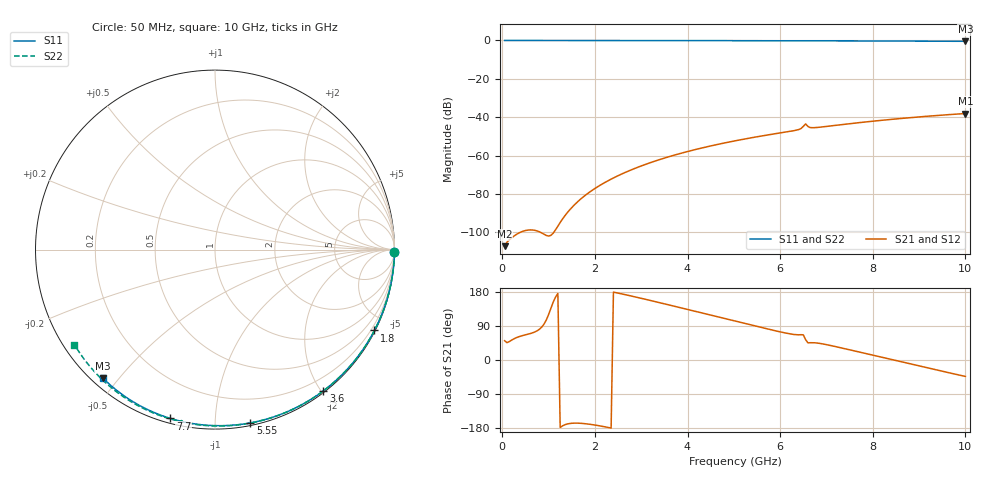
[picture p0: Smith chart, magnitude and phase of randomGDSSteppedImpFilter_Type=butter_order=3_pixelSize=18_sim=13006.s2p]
! freq	dB(S11)	phase(S11)	dB(S12)	phase(S12)
!  dB(S21)	phase(S21)	dB(S22)	phase(S22)
!S-par simulation data
#  GHz  S  DB  R 50
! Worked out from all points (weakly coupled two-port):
!   200 points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, 50 MHz to 10 GHz, reference 50 ohm
!   highest |S21| = -38.11 dB at 10 GHz (marker M1); lowest = -107.3 dB at 50 MHz (marker M2)
!   lowest |S11| = -0.4 dB at 10 GHz (marker M3), VSWR 38.91, Z = 1.55 - j22.7 ohm
!   |S11| at or under -10 dB: nowhere
!   |S22| runs from -0.5 to 0.0 dB; largest |S21 - S12| = 0
!   S11 on the Smith chart (normalised r, x): 50 MHz: open; 1.8 GHz: 0.04, -4.19; 3.6 GHz: 0.02, -2.03; 5.55 GHz: 0.02, -1.22; 7.7 GHz: 0.02, -0.77; 10 GHz: 0.03, -0.45
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0.05  -0.00 -0.8  -107.29 50.9  -107.29 50.9  -0.00 -0.9
0.9  -0.02 -13.6  -101.06 94.5  -101.06 94.5  -0.02 -15.2
1.75  -0.03 -26.1  -81.55 -167.6  -81.55 -167.6  -0.04 -29.3
1.8  -0.03 -26.9  -80.60 -168.2  -80.60 -168.2  -0.04 -30.1
1.85  -0.04 -27.6  -79.70 -169.0  -79.70 -169.0  -0.04 -30.9
2.25  -0.04 -33.4  -73.61 -177.1  -73.61 -177.1  -0.05 -37.4
2.55  -0.05 -37.8  -69.96 175.3  -69.96 175.3  -0.05 -42.2
2.95  -0.06 -43.5  -65.90 164.2  -65.90 164.2  -0.06 -48.5
3.4  -0.07 -49.8  -62.10 151.2  -62.10 151.2  -0.07 -55.6
3.6  -0.07 -52.6  -60.61 145.3  -60.61 145.3  -0.08 -58.6
4.3  -0.09 -62.1  -56.12 124.3  -56.12 124.3  -0.10 -69.2
5.05  -0.11 -72.0  -52.23 101.8  -52.23 101.8  -0.12 -80.2
5.55  -0.13 -78.5  -50.02 87.0  -50.02 87.0  -0.14 -87.3
6.4  -0.17 -89.2  -46.47 66.4  -46.47 66.4  -0.19 -99.2
6.45  -0.17 -89.8  -45.95 66.8  -45.95 66.8  -0.20 -99.9
6.55  -0.17 -91.0  -43.53 53.7  -43.53 53.7  -0.26 -101.1
6.6  -0.17 -91.6  -44.84 45.2  -44.84 45.2  -0.22 -101.6
6.65  -0.18 -92.2  -45.45 45.6  -45.45 45.6  -0.21 -102.3
6.7  -0.18 -92.8  -45.49 45.6  -45.49 45.6  -0.21 -103.0
7.7  -0.24 -104.8  -42.88 21.2  -42.88 21.2  -0.27 -116.3
8.35  -0.29 -112.4  -41.27 2.7  -41.27 2.7  -0.32 -124.8
10  -0.45 -131.1  -38.11 -43.4  -38.11 -43.4  -0.49 -146.0
